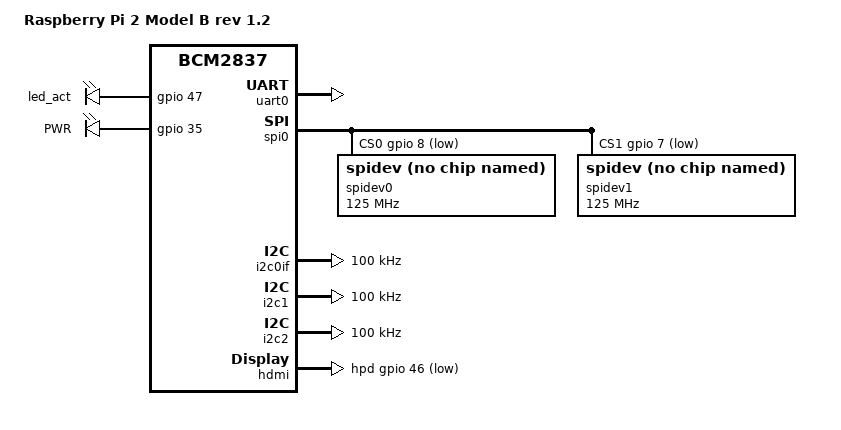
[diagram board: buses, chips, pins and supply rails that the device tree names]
/dts-v1/;

#include "bcm2710.dtsi"
#include "bcm2709-rpi.dtsi"
#include "bcm283x-rpi-smsc9514.dtsi"
#include "bcm283x-rpi-csi1-2lane.dtsi"
#include "bcm283x-rpi-i2c0mux_0_28.dtsi"
#include "bcm283x-rpi-led-deprecated.dtsi"

/ {
	compatible = "raspberrypi,2-model-b-rev2", "brcm,bcm2837";
	model = "Raspberry Pi 2 Model B rev 1.2";
};

&gpio {
	/*
	 * Taken from rpi_SCH_2b_1p2_reduced.pdf and
	 * the official GPU firmware DT blob.
	 *
	 * Legend:
	 * "NC" = not connected (no rail from the SoC)
	 * "FOO" = GPIO line named "FOO" on the schematic
	 * "FOO_N" = GPIO line named "FOO" on schematic, active low
	 */
	gpio-line-names = "ID_SDA",
			  "ID_SCL",
			  "GPIO2",
			  "GPIO3",
			  "GPIO4",
			  "GPIO5",
			  "GPIO6",
			  "GPIO7",
			  "GPIO8",
			  "GPIO9",
			  "GPIO10",
			  "GPIO11",
			  "GPIO12",
			  "GPIO13",
			  "GPIO14",
			  "GPIO15",
			  "GPIO16",
			  "GPIO17",
			  "GPIO18",
			  "GPIO19",
			  "GPIO20",
			  "GPIO21",
			  "GPIO22",
			  "GPIO23",
			  "GPIO24",
			  "GPIO25",
			  "GPIO26",
			  "GPIO27",
			  "SDA0",
			  "SCL0",
			  "NC", /* GPIO30 */
			  "LAN_RUN",
			  "CAM_GPIO1",
			  "NC", /* GPIO33 */
			  "NC", /* GPIO34 */
			  "PWR_LOW_N",
			  "NC", /* GPIO36 */
			  "NC", /* GPIO37 */
			  "USB_LIMIT",
			  "NC", /* GPIO39 */
			  "PWM0_OUT",
			  "CAM_GPIO0",
			  "SMPS_SCL",
			  "SMPS_SDA",
			  "ETH_CLK",
			  "PWM1_OUT",
			  "HDMI_HPD_N",
			  "STATUS_LED",
			  /* Used by SD Card */
			  "SD_CLK_R",
			  "SD_CMD_R",
			  "SD_DATA0_R",
			  "SD_DATA1_R",
			  "SD_DATA2_R",
			  "SD_DATA3_R";

	spi0_pins: spi0_pins {
		brcm,pins = <9 10 11>;
		brcm,function = <4>; /* alt0 */
	};

	spi0_cs_pins: spi0_cs_pins {
		brcm,pins = <8 7>;
		brcm,function = <1>; /* output */
	};

	i2c0_pins: i2c0 {
		brcm,pins = <0 1>;
		brcm,function = <4>;
	};

	i2c1_pins: i2c1 {
		brcm,pins = <2 3>;
		brcm,function = <4>;
	};

	i2s_pins: i2s {
		brcm,pins = <18 19 20 21>;
		brcm,function = <4>; /* alt0 */
	};

	audio_pins: audio_pins {
		brcm,pins = <40 45>;
		brcm,function = <4>;
		brcm,pull = <0>;
	};
};

&uart0 {
	status = "okay";
};

&spi0 {
	pinctrl-names = "default";
	pinctrl-0 = <&spi0_pins &spi0_cs_pins>;
	cs-gpios = <&gpio 8 1>, <&gpio 7 1>;

	spidev0: spidev@0{
		compatible = "spidev";
		reg = <0>;	/* CE0 */
		#address-cells = <1>;
		#size-cells = <0>;
		spi-max-frequency = <125000000>;
	};

	spidev1: spidev@1{
		compatible = "spidev";
		reg = <1>;	/* CE1 */
		#address-cells = <1>;
		#size-cells = <0>;
		spi-max-frequency = <125000000>;
	};
};

&i2c0if {
	clock-frequency = <100000>;
};

&i2c1 {
	pinctrl-names = "default";
	pinctrl-0 = <&i2c1_pins>;
	clock-frequency = <100000>;
};

&i2c2 {
	clock-frequency = <100000>;
};

&i2s {
	pinctrl-names = "default";
	pinctrl-0 = <&i2s_pins>;
};

&led_act {
	gpios = <&gpio 47 GPIO_ACTIVE_HIGH>;
	default-state = "off";
	linux,default-trigger = "mmc0";
};

&leds {
	led_pwr: led-pwr {
		label = "PWR";
		gpios = <&gpio 35 GPIO_ACTIVE_HIGH>;
		default-state = "off";
		linux,default-trigger = "input";
	};
};

&hdmi {
	hpd-gpios = <&gpio 46 GPIO_ACTIVE_LOW>;
};

&vchiq {
	pinctrl-names = "default";
	pinctrl-0 = <&audio_pins>;
};

&cam1_reg {
	gpio = <&gpio 41 GPIO_ACTIVE_HIGH>;
};

cam0_reg: &cam_dummy_reg {
};

i2c_csi_dsi0: &i2c0 {
};

/ {
	__overrides__ {
		audio = <&chosen>,"bootargs{on='snd_bcm2835.enable_headphones=1 snd_bcm2835.enable_hdmi=1',off='snd_bcm2835.enable_headphones=0 snd_bcm2835.enable_hdmi=0'}";

		act_led_gpio = <&led_act>,"gpios:4";
		act_led_activelow = <&led_act>,"gpios:8";
		act_led_trigger = <&led_act>,"linux,default-trigger";

		pwr_led_gpio = <&led_pwr>,"gpios:4";
		pwr_led_activelow = <&led_pwr>,"gpios:8";
		pwr_led_trigger = <&led_pwr>,"linux,default-trigger";
	};
};
